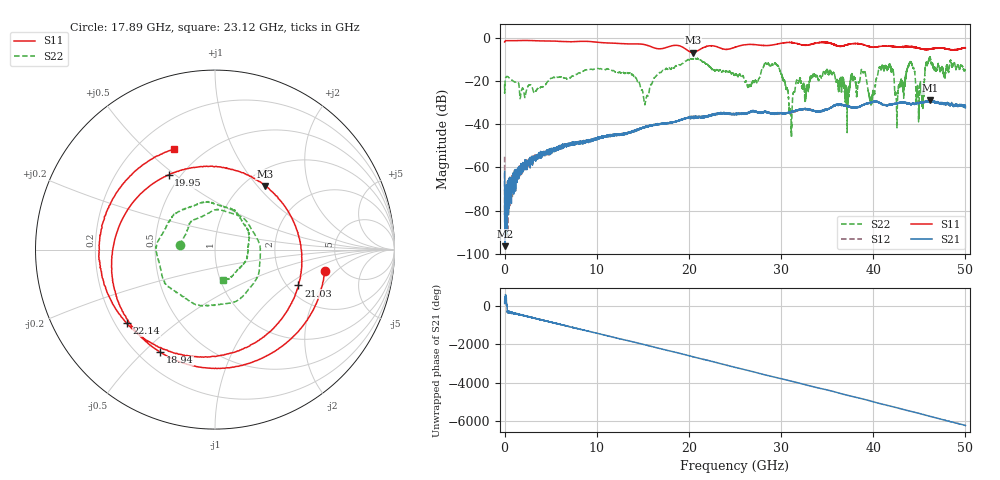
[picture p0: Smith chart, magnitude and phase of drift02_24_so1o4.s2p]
!Created with skrf (http://scikit-rf.org).
# Hz S RI R 50.0
!freq ReS11 ImS11 ReS21 ImS21 ReS12 ImS12 ReS22 ImS22
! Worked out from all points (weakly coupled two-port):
!   10001 points, 300 kHz to 50 GHz, reference 50 ohm
!   highest |S21| = -29.00 dB at 46.21 GHz (marker M1); lowest = -96.4 dB at 60.3 MHz (marker M2)
!   lowest |S11| = -6.9 dB at 20.45 GHz (marker M3), VSWR 2.64, Z = 61.5 + j54.7 ohm
!   |S11| at or under -10 dB: nowhere
!   |S22| runs from -46.3 to -8.9 dB; largest |S21 - S12| = 0.0032
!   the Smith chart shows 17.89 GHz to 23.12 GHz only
!   S11 on the Smith chart (normalised r, x): 17.89 GHz: 3.70, -1.45; 18.94 GHz: 0.29, -0.56; 19.95 GHz: 0.43, +0.47; 21.03 GHz: 2.28, -1.22; 22.14 GHz: 0.25, -0.34; 23.12 GHz: 0.35, +0.61
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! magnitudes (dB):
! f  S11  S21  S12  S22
! 300 kHz  -2.1  -61.9  -55.1  -21.5
! 60.3 MHz  -1.6  -96.4  -88.4  -20.0
! 8.335 GHz  -1.7  -48.9  -48.6  -15.8
! 15.32 GHz  -3.4  -41.0  -41.4  -29.1
! 16.67 GHz  -5.2  -40.1  -40.2  -16.9
! 17.89 GHz  -4.1  -39.2  -39.3  -14.0
! 18.94 GHz  -3.8  -38.2  -38.2  -12.5
! 19.95 GHz  -6.2  -37.0  -37.0  -10.2
! 20.45 GHz  -6.9  -36.9  -36.5  -10.0
! 21.03 GHz  -5.9  -37.0  -36.6  -10.0
! 22.14 GHz  -3.9  -36.1  -35.9  -13.2
! 23.12 GHz  -4.4  -35.3  -35.0  -15.2
! 25 GHz  -4.5  -35.5  -35.4  -17.4
! 29.51 GHz  -3.1  -35.0  -35.2  -12.6
! 31.03 GHz  -2.3  -34.5  -34.7  -34.9
! 33.34 GHz  -3.1  -33.6  -33.5  -17.8
! 38.91 GHz  -3.2  -31.1  -31.1  -16.1
! 39.73 GHz  -4.3  -29.9  -30.0  -31.0
! 41.67 GHz  -4.0  -30.9  -31.0  -13.3
! 45.14 GHz  -5.1  -30.0  -30.3  -22.8
! 46.21 GHz  -5.3  -29.0  -29.2  -10.2
! 50 GHz  -4.7  -32.4  -32.0  -15.6
